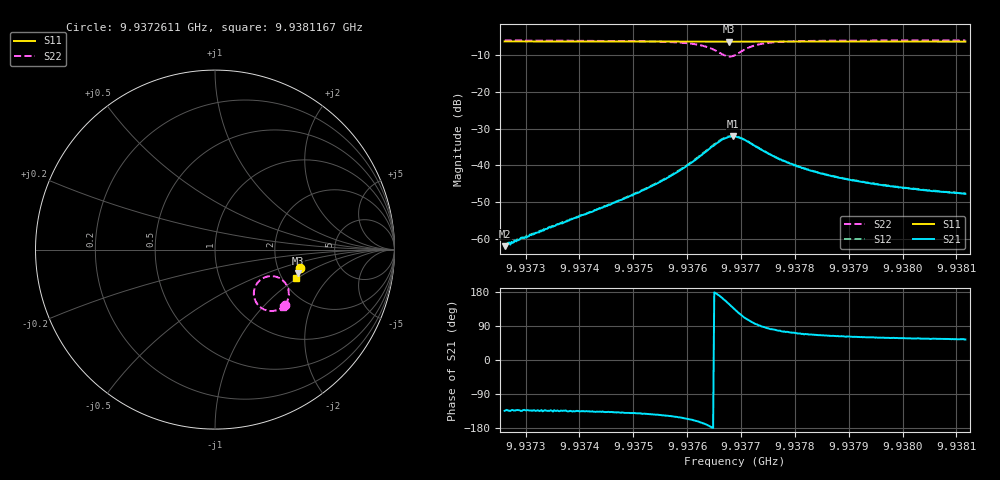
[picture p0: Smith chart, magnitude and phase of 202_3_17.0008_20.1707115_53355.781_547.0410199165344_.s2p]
#  HZ  S  RI  R  50.00
! Rohde & Schwarz Vector Network Analyzer
! Rohde-Schwarz,ZNB20-2Port,1311601062101988,3.16
! Created: UTC 3/20/2024, 11:01:07 PM
! freq[Hz]  re:S11  im:S11  re:S21  im:S21  re:S12  im:S12  re:S22  im:S22
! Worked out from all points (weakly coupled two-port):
!   401 points, 9.9372611 GHz to 9.9381167 GHz, reference 50 ohm
!   highest |S21| = -32.11 dB at 9.9376846 GHz (marker M1); lowest = -62.0 dB at 9.9372611 GHz (marker M2)
!   lowest |S11| = -6.4 dB at 9.9376782 GHz (marker M3), VSWR 2.84, Z = 125 - j42.4 ohm
!   |S11| at or under -10 dB: nowhere
!   |S22| runs from -10.4 to -6.0 dB; largest |S21 - S12| = 0.0011
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9.93726111e9  0.4723 -0.1041  -0.000553 -0.000571  -0.000576 -0.000566  0.3911 -0.3077
9.93729534e9  0.4717 -0.1063  -0.000694 -0.000763  -0.000711 -0.000771  0.3882 -0.3105
9.93730175e9  0.4715 -0.1068  -0.000707 -0.000764  -0.000765 -0.000803  0.3875 -0.3112
9.93740443e9  0.4694 -0.1138  -0.00148 -0.00148  -0.00152 -0.00146  0.3762 -0.3208
9.93748999e9  0.4675 -0.1195  -0.0028 -0.0024  -0.00291 -0.00239  0.3604 -0.3309
9.93754774e9  0.466 -0.1236  -0.0048 -0.00338  -0.00493 -0.00337  0.3404 -0.3388
9.93759694e9  0.4646 -0.1268  -0.00859 -0.00418  -0.00884 -0.00408  0.3065 -0.342
9.9376333e9  0.4631 -0.1293  -0.0148 -0.00293  -0.015 -0.00262  0.2574 -0.3243
9.93764828e9  0.4621 -0.13  -0.0182 -0.000278  -0.0188 0.00036  0.2316 -0.2975
9.93766111e9  0.4616 -0.1304  -0.0209 0.00441  -0.0213 0.0052  0.217 -0.2571
9.93767822e9  0.4609 -0.1304  -0.0205 0.0133  -0.0203 0.0141  0.235 -0.1875
9.93768464e9  0.461 -0.1305  -0.0186 0.0164  -0.0181 0.0173  0.2558 -0.1665
9.93768892e9  0.4611 -0.1304  -0.0167 0.018  -0.0162 0.0189  0.2725 -0.1566
9.93769961e9  0.4614 -0.1308  -0.0115 0.0202  -0.0108 0.0209  0.3167 -0.1475
9.93771245e9  0.4616 -0.1315  -0.00598 0.0201  -0.00543 0.0206  0.3594 -0.159
9.93773811e9  0.4621 -0.1335  0.000487 0.0163  0.000733 0.0162  0.4003 -0.2003
9.93778303e9  0.4614 -0.137  0.00311 0.0108  0.00315 0.0108  0.4115 -0.2496
9.93783223e9  0.4603 -0.1407  0.00325 0.00767  0.00345 0.00769  0.4067 -0.2761
9.93789426e9  0.4587 -0.1447  0.00309 0.00572  0.00321 0.00574  0.3993 -0.2941
9.93797555e9  0.4567 -0.1501  0.00275 0.00445  0.00286 0.00444  0.3912 -0.3078
9.93805683e9  0.4547 -0.1554  0.00246 0.00371  0.00257 0.00373  0.3841 -0.317
9.93811672e9  0.453 -0.1594  0.0024 0.00332  0.00244 0.00333  0.3796 -0.3226
